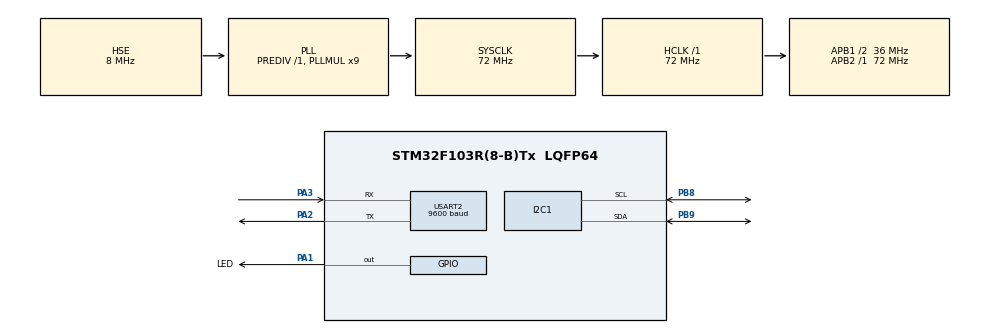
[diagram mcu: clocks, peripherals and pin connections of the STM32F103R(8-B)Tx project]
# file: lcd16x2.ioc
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Mcu.Family=STM32F1
Mcu.Name=STM32F103R(8-B)Tx
Mcu.Package=LQFP64
NVIC.PriorityGroup=NVIC_PRIORITYGROUP_4
NVIC.TIM2_IRQn=true\:0\:0\:false\:false\:true\:true\:true\:true
NVIC.USART2_IRQn=true\:0\:0\:false\:false\:true\:true\:true\:true
PA1.GPIO_Label=LED
PA1.Signal=GPIO_Output
PA13.Mode=Serial_Wire
PA13.Signal=SYS_JTMS-SWDIO
PA14.Mode=Serial_Wire
PA14.Signal=SYS_JTCK-SWCLK
PA2.Mode=Asynchronous
PA2.Signal=USART2_TX
PA3.Mode=Asynchronous
PA3.Signal=USART2_RX
PB8.GPIO_Speed=GPIO_SPEED_FREQ_HIGH
PB8.Mode=I2C
PB8.Signal=I2C1_SCL
PB9.Mode=I2C
PB9.Signal=I2C1_SDA
PD0-OSC_IN.Mode=HSE-External-Oscillator
PD0-OSC_IN.Signal=RCC_OSC_IN
PD1-OSC_OUT.Mode=HSE-External-Oscillator
PD1-OSC_OUT.Signal=RCC_OSC_OUT
ProjectManager.HeapSize=0x200
ProjectManager.StackSize=0x400
ProjectManager.TargetToolchain=STM32CubeIDE
RCC.AHBFreq_Value=72000000
RCC.APB1CLKDivider=RCC_HCLK_DIV2
RCC.APB1Freq_Value=36000000
RCC.APB1TimFreq_Value=72000000
RCC.APB2Freq_Value=72000000
RCC.APB2TimFreq_Value=72000000
RCC.HCLKFreq_Value=72000000
RCC.PLLMUL=RCC_PLL_MUL9
RCC.PLLSourceVirtual=RCC_PLLSOURCE_HSE
RCC.SYSCLKFreq_VALUE=72000000
RCC.SYSCLKSource=RCC_SYSCLKSOURCE_PLLCLK
RCC.USBFreq_Value=72000000
TIM2.Period=99
TIM2.Prescaler=7199
USART2.BaudRate=9600
USART2.VirtualMode=VM_ASYNC
VP_TIM2_VS_ClockSourceINT.Mode=Internal
board=custom

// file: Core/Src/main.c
/* USER CODE BEGIN Header */
/**
  ******************************************************************************
  * @file           : main.c
  * @brief          : Main program body
  ******************************************************************************
  * @attention
  *
  * <h2><center>&copy; Copyright (c) 2022 STMicroelectronics.
  * All rights reserved.</center></h2>
  *
  * This software component is licensed by ST under BSD 3-Clause license,
  * the "License"; You may not use this file except in compliance with the
  * License. You may obtain a copy of the License at:
  *                        opensource.org/licenses/BSD-3-Clause
  *
  ******************************************************************************
  */
/* USER CODE END Header */
#include "main.h"

/* USER CODE BEGIN Includes */
#include "software_timer.h"
#include "i2c-lcd.h"
#include "dht20.h"
#include "uart_reading.h"
/* USER CODE END Includes */

I2C_HandleTypeDef hi2c1;

TIM_HandleTypeDef htim2;

UART_HandleTypeDef huart2;

void SystemClock_Config(void);
static void MX_GPIO_Init(void);
static void MX_I2C1_Init(void);
static void MX_USART2_UART_Init(void);
static void MX_TIM2_Init(void);

/* USER CODE BEGIN 0 */
void HAL_UART_RxCpltCallback(UART_HandleTypeDef *huart){
	if (huart->Instance == USART2){
		HAL_UART_Transmit(&huart2, &buffer_byte, 1, 500);
		buffer[index_buffer] = buffer_byte;
		index_buffer++;
		if (index_buffer == MAX_BUFFER_SIZE) index_buffer = 0;
		buffer_flag = 1;
		HAL_UART_Receive_IT(&huart2, &buffer_byte, 1);
	}
}
/* USER CODE END 0 */

int main(void)
{

  /* MCU Configuration--------------------------------------------------------*/

  /* Reset of all peripherals, Initializes the Flash interface and the Systick. */
  HAL_Init();

  /* Configure the system clock */
  SystemClock_Config();

  /* Initialize all configured peripherals */
  MX_GPIO_Init();
  MX_I2C1_Init();
  MX_USART2_UART_Init();
  MX_TIM2_Init();
  /* USER CODE BEGIN 2 */
  HAL_TIM_Base_Start_IT(&htim2);
  HAL_UART_Receive_IT(&huart2, &buffer_byte, 1);
  Scan_Addr(); //Scan the address of I2C device
  /* USER CODE END 2 */

  /* Infinite loop */
  /* USER CODE BEGIN WHILE */
  lcd_greeting();
  init_reading();
  setTimer3(300);
  while (1)
  {
	  if (buffer_flag == 1){
		  cmd_parser_fsm();
		  buffer_flag = 0;
	  }
	  if(timer3_flag == 1){
		  setTimer3(1);
		  uart_control_fsm();
	  }

	  //Testing hardware
//	  HAL_GPIO_TogglePin(LED_GPIO_Port, LED_Pin);
//	  HAL_Delay(1000);
    /* USER CODE END WHILE */

  }
}

void SystemClock_Config(void)
{
  RCC_OscInitTypeDef RCC_OscInitStruct = {0};
  RCC_ClkInitTypeDef RCC_ClkInitStruct = {0};

  /** Initializes the RCC Oscillators according to the specified parameters
  * in the RCC_OscInitTypeDef structure.
  */
  RCC_OscInitStruct.OscillatorType = RCC_OSCILLATORTYPE_HSE;
  RCC_OscInitStruct.HSEState = RCC_HSE_ON;
  RCC_OscInitStruct.HSEPredivValue = RCC_HSE_PREDIV_DIV1;
  RCC_OscInitStruct.HSIState = RCC_HSI_ON;
  RCC_OscInitStruct.PLL.PLLState = RCC_PLL_ON;
  RCC_OscInitStruct.PLL.PLLSource = RCC_PLLSOURCE_HSE;
  RCC_OscInitStruct.PLL.PLLMUL = RCC_PLL_MUL9;
  if (HAL_RCC_OscConfig(&RCC_OscInitStruct) != HAL_OK)
  {
    Error_Handler();
  }

  /** Initializes the CPU, AHB and APB buses clocks
  */
  RCC_ClkInitStruct.ClockType = RCC_CLOCKTYPE_HCLK|RCC_CLOCKTYPE_SYSCLK
                              |RCC_CLOCKTYPE_PCLK1|RCC_CLOCKTYPE_PCLK2;
  RCC_ClkInitStruct.SYSCLKSource = RCC_SYSCLKSOURCE_PLLCLK;
  RCC_ClkInitStruct.AHBCLKDivider = RCC_SYSCLK_DIV1;
  RCC_ClkInitStruct.APB1CLKDivider = RCC_HCLK_DIV2;
  RCC_ClkInitStruct.APB2CLKDivider = RCC_HCLK_DIV1;

  if (HAL_RCC_ClockConfig(&RCC_ClkInitStruct, FLASH_LATENCY_2) != HAL_OK)
  {
    Error_Handler();
  }
}

static void MX_I2C1_Init(void)
{

  hi2c1.Instance = I2C1;
  hi2c1.Init.ClockSpeed = 100000;
  hi2c1.Init.DutyCycle = I2C_DUTYCYCLE_2;
  hi2c1.Init.OwnAddress1 = 0;
  hi2c1.Init.AddressingMode = I2C_ADDRESSINGMODE_7BIT;
  hi2c1.Init.DualAddressMode = I2C_DUALADDRESS_DISABLE;
  hi2c1.Init.OwnAddress2 = 0;
  hi2c1.Init.GeneralCallMode = I2C_GENERALCALL_DISABLE;
  hi2c1.Init.NoStretchMode = I2C_NOSTRETCH_DISABLE;
  if (HAL_I2C_Init(&hi2c1) != HAL_OK)
  {
    Error_Handler();
  }

}

static void MX_TIM2_Init(void)
{

  TIM_ClockConfigTypeDef sClockSourceConfig = {0};
  TIM_MasterConfigTypeDef sMasterConfig = {0};

  htim2.Instance = TIM2;
  htim2.Init.Prescaler = 7199;
  htim2.Init.CounterMode = TIM_COUNTERMODE_UP;
  htim2.Init.Period = 99;
  htim2.Init.ClockDivision = TIM_CLOCKDIVISION_DIV1;
  htim2.Init.AutoReloadPreload = TIM_AUTORELOAD_PRELOAD_DISABLE;
  if (HAL_TIM_Base_Init(&htim2) != HAL_OK)
  {
    Error_Handler();
  }
  sClockSourceConfig.ClockSource = TIM_CLOCKSOURCE_INTERNAL;
  if (HAL_TIM_ConfigClockSource(&htim2, &sClockSourceConfig) != HAL_OK)
  {
    Error_Handler();
  }
  sMasterConfig.MasterOutputTrigger = TIM_TRGO_RESET;
  sMasterConfig.MasterSlaveMode = TIM_MASTERSLAVEMODE_DISABLE;
  if (HAL_TIMEx_MasterConfigSynchronization(&htim2, &sMasterConfig) != HAL_OK)
  {
    Error_Handler();
  }

}

static void MX_USART2_UART_Init(void)
{

  huart2.Instance = USART2;
  huart2.Init.BaudRate = 9600;
  huart2.Init.WordLength = UART_WORDLENGTH_8B;
  huart2.Init.StopBits = UART_STOPBITS_1;
  huart2.Init.Parity = UART_PARITY_NONE;
  huart2.Init.Mode = UART_MODE_TX_RX;
  huart2.Init.HwFlowCtl = UART_HWCONTROL_NONE;
  huart2.Init.OverSampling = UART_OVERSAMPLING_16;
  if (HAL_UART_Init(&huart2) != HAL_OK)
  {
    Error_Handler();
  }

}

static void MX_GPIO_Init(void)
{
  GPIO_InitTypeDef GPIO_InitStruct = {0};

  /* GPIO Ports Clock Enable */
  __HAL_RCC_GPIOD_CLK_ENABLE();
  __HAL_RCC_GPIOA_CLK_ENABLE();
  __HAL_RCC_GPIOB_CLK_ENABLE();

  /*Configure GPIO pin Output Level */
  HAL_GPIO_WritePin(LED_GPIO_Port, LED_Pin, GPIO_PIN_RESET);

  /*Configure GPIO pin : LED_Pin */
  GPIO_InitStruct.Pin = LED_Pin;
  GPIO_InitStruct.Mode = GPIO_MODE_OUTPUT_PP;
  GPIO_InitStruct.Pull = GPIO_NOPULL;
  GPIO_InitStruct.Speed = GPIO_SPEED_FREQ_LOW;
  HAL_GPIO_Init(LED_GPIO_Port, &GPIO_InitStruct);

}

/* USER CODE BEGIN 4 */
void HAL_TIM_PeriodElapsedCallback(TIM_HandleTypeDef *htim)
{
	timerRun();
}
/* USER CODE END 4 */

void Error_Handler(void)
{
  __disable_irq();
  while (1)
  {
  }
}
